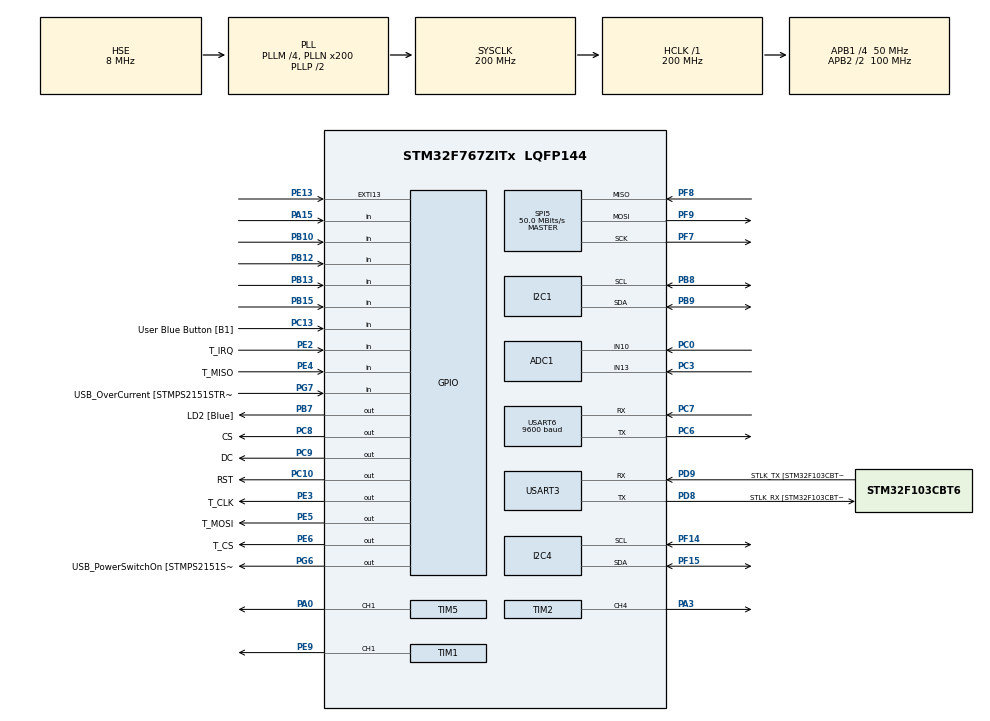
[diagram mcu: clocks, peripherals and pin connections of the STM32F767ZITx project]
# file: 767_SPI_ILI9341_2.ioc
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ADC1.Channel-0\#ChannelRegularConversion=ADC_CHANNEL_13
ADC1.Channel-1\#ChannelRegularConversion=ADC_CHANNEL_10
ADC1.ContinuousConvMode=DISABLE
ADC1.DMAContinuousRequests=ENABLE
ADC1.EOCSelection=ADC_EOC_SEQ_CONV
ADC1.NbrOfConversion=2
ADC1.NbrOfConversionFlag=1
ADC1.Rank-0\#ChannelRegularConversion=1
ADC1.Rank-1\#ChannelRegularConversion=2
ADC1.SamplingTime-0\#ChannelRegularConversion=ADC_SAMPLETIME_3CYCLES
ADC1.SamplingTime-1\#ChannelRegularConversion=ADC_SAMPLETIME_3CYCLES
ADC1.ScanConvMode=ADC_SCAN_ENABLE
ADC1.master=1
CORTEX_M7.ART_ACCLERATOR_ENABLE=1
CORTEX_M7.CPU_DCache=Enabled
CORTEX_M7.CPU_ICache=Enabled
CORTEX_M7.PREFETCH_ENABLE=1
Dma.ADC1.0.Direction=DMA_PERIPH_TO_MEMORY
Dma.ADC1.0.FIFOMode=DMA_FIFOMODE_DISABLE
Dma.ADC1.0.Instance=DMA2_Stream0
Dma.ADC1.0.MemDataAlignment=DMA_MDATAALIGN_WORD
Dma.ADC1.0.MemInc=DMA_MINC_ENABLE
Dma.ADC1.0.Mode=DMA_NORMAL
Dma.ADC1.0.PeriphDataAlignment=DMA_PDATAALIGN_WORD
Dma.ADC1.0.PeriphInc=DMA_PINC_DISABLE
Dma.ADC1.0.Priority=DMA_PRIORITY_LOW
Dma.Request0=ADC1
I2C1.Timing=0x00C0EAFF
I2C4.Timing=0x00C0EAFF
Mcu.Family=STM32F7
Mcu.Name=STM32F767ZITx
Mcu.Package=LQFP144
NVIC.DMA2_Stream0_IRQn=true\:0\:0\:false\:false\:true\:false\:true\:true
NVIC.EXTI15_10_IRQn=true\:0\:0\:false\:false\:true\:true\:true\:true
NVIC.PriorityGroup=NVIC_PRIORITYGROUP_4
NVIC.TIM1_UP_TIM10_IRQn=true\:0\:0\:false\:false\:true\:true\:true\:true
PA0/WKUP.GPIO_Speed=GPIO_SPEED_FREQ_VERY_HIGH
PA0/WKUP.Signal=S_TIM5_CH1
PA1.GPIO_Label=RMII_REF_CLK [LAN8742A-CZ-TR_REFCLK0]
PA1.Signal=ETH_REF_CLK
PA13.GPIO_Label=TMS
PA13.Mode=Serial_Wire
PA13.Signal=SYS_JTMS-SWDIO
PA14.GPIO_Label=TCK
PA14.Mode=Serial_Wire
PA14.Signal=SYS_JTCK-SWCLK
PA15.Signal=GPIO_Input
PA2.GPIO_Label=RMII_MDIO [LAN8742A-CZ-TR_MDIO]
PA2.Signal=ETH_MDIO
PA3.Signal=S_TIM2_CH4
PA7.GPIO_Label=RMII_CRS_DV [LAN8742A-CZ-TR_CRS_DV]
PA7.Signal=ETH_CRS_DV
PB10.Signal=GPIO_Input
PB12.Signal=GPIO_Input
PB13.Signal=GPIO_Input
PB15.Signal=GPIO_Input
PB3.GPIO_Label=SWO
PB3.Signal=SYS_JTDO-SWO
PB7.GPIO_Label=LD2 [Blue]
PB7.Signal=GPIO_Output
PB8.Mode=I2C
PB8.Signal=I2C1_SCL
PB9.Mode=I2C
PB9.Signal=I2C1_SDA
PC0.Signal=ADCx_IN10
PC1.GPIO_Label=RMII_MDC [LAN8742A-CZ-TR_MDC]
PC1.Signal=ETH_MDC
PC10.GPIO_Label=RST
PC10.GPIO_Speed=GPIO_SPEED_FREQ_VERY_HIGH
PC10.Signal=GPIO_Output
PC13.GPIO_Label=User Blue Button [B1]
PC13.Signal=GPIO_Input
PC14/OSC32_IN.Mode=LSE-External-Oscillator
PC14/OSC32_IN.Signal=RCC_OSC32_IN
PC15/OSC32_OUT.Mode=LSE-External-Oscillator
PC15/OSC32_OUT.Signal=RCC_OSC32_OUT
PC3.Signal=ADCx_IN13
PC4.GPIO_Label=RMII_RXD0 [LAN8742A-CZ-TR_RXD0]
PC4.Signal=ETH_RXD0
PC5.GPIO_Label=RMII_RXD1 [LAN8742A-CZ-TR_RXD1]
PC5.Signal=ETH_RXD1
PC6.Mode=Asynchronous
PC6.Signal=USART6_TX
PC7.Mode=Asynchronous
PC7.Signal=USART6_RX
PC8.GPIO_Label=CS
PC8.GPIO_Speed=GPIO_SPEED_FREQ_VERY_HIGH
PC8.Signal=GPIO_Output
PC9.GPIO_Label=DC
PC9.GPIO_Speed=GPIO_SPEED_FREQ_VERY_HIGH
PC9.Signal=GPIO_Output
PD8.GPIO_Label=STLK_RX [STM32F103CBT6_PA3]
PD8.Mode=Asynchronous
PD8.Signal=USART3_TX
PD9.GPIO_Label=STLK_TX [STM32F103CBT6_PA2]
PD9.Mode=Asynchronous
PD9.Signal=USART3_RX
PE13.GPIO_ModeDefaultEXTI=GPIO_MODE_IT_FALLING
PE13.GPIO_PuPd=GPIO_PULLUP
PE13.Signal=GPXTI13
PE2.GPIO_Label=T_IRQ
PE2.Signal=GPIO_Input
PE3.GPIO_Label=T_CLK
PE3.GPIO_Speed=GPIO_SPEED_FREQ_VERY_HIGH
PE3.Signal=GPIO_Output
PE4.GPIO_Label=T_MISO
PE4.Signal=GPIO_Input
PE5.GPIO_Label=T_MOSI
PE5.GPIO_Speed=GPIO_SPEED_FREQ_VERY_HIGH
PE5.Signal=GPIO_Output
PE6.GPIO_Label=T_CS
PE6.GPIO_Speed=GPIO_SPEED_FREQ_VERY_HIGH
PE6.Signal=GPIO_Output
PE9.Signal=S_TIM1_CH1
PF14.Mode=I2C
PF14.Signal=I2C4_SCL
PF15.Mode=I2C
PF15.Signal=I2C4_SDA
PF7.Mode=Full_Duplex_Master
PF7.Signal=SPI5_SCK
PF8.Mode=Full_Duplex_Master
PF8.Signal=SPI5_MISO
PF9.Mode=Full_Duplex_Master
PF9.Signal=SPI5_MOSI
PG11.GPIO_Label=RMII_TX_EN [LAN8742A-CZ-TR_TXEN]
PG11.Signal=ETH_TX_EN
PG13.GPIO_Label=RMII_TXD0 [LAN8742A-CZ-TR_TXD0]
PG13.Signal=ETH_TXD0
PG6.GPIO_Label=USB_PowerSwitchOn [STMPS2151STR_EN]
PG6.Signal=GPIO_Output
PG7.GPIO_Label=USB_OverCurrent [STMPS2151STR_FAULT]
PG7.Signal=GPIO_Input
PH0/OSC_IN.GPIO_Label=MCO [STM32F103CBT6_PA8]
PH0/OSC_IN.Mode=HSE-External-Oscillator
PH0/OSC_IN.Signal=RCC_OSC_IN
PH1/OSC_OUT.Mode=HSE-External-Oscillator
PH1/OSC_OUT.Signal=RCC_OSC_OUT
ProjectManager.HeapSize=0x200
ProjectManager.StackSize=0x400
ProjectManager.TargetToolchain=STM32CubeIDE
RCC.48MHZClocksFreq_Value=24000000
RCC.AHBFreq_Value=200000000
RCC.APB1CLKDivider=RCC_HCLK_DIV4
RCC.APB1Freq_Value=50000000
RCC.APB1TimFreq_Value=100000000
RCC.APB2CLKDivider=RCC_HCLK_DIV2
RCC.APB2Freq_Value=100000000
RCC.APB2TimFreq_Value=200000000
RCC.CortexFreq_Value=200000000
RCC.HCLKFreq_Value=200000000
RCC.HSE_VALUE=8000000
RCC.HSI_VALUE=16000000
RCC.PLLM=4
RCC.PLLMUL=RCC_PLL_MUL9
RCC.PLLN=200
RCC.PLLQ=9
RCC.PLLSourceVirtual=RCC_PLLSOURCE_HSE
RCC.PRESCALERUSB=RCC_USBCLKSOURCE_PLL_DIV1_5
RCC.SYSCLKFreq_VALUE=200000000
RCC.SYSCLKSource=RCC_SYSCLKSOURCE_PLLCLK
RCC.SYSCLKSourceVirtual=RCC_SYSCLKSOURCE_PLLCLK
RCC.USBFreq_Value=44444444.44444445
RCC.VCOOutputFreq_Value=400000000
SH.ADCx_IN10.0=ADC1_IN10,IN10
SH.ADCx_IN13.0=ADC1_IN13,IN13
SH.S_TIM1_CH1.0=TIM1_CH1,PWM Generation1 CH1
SH.S_TIM2_CH4.0=TIM2_CH4,PWM Generation4 CH4
SH.S_TIM5_CH1.0=TIM5_CH1,PWM Generation1 CH1
SPI5.CalculateBaudRate=50.0 MBits/s
SPI5.DataSize=SPI_DATASIZE_8BIT
SPI5.Direction=SPI_DIRECTION_2LINES
SPI5.Mode=SPI_MODE_MASTER
SPI5.NSSPMode=SPI_NSS_PULSE_DISABLE
SPI5.VirtualType=VM_MASTER
TIM1.Channel-PWM\ Generation1\ CH1=TIM_CHANNEL_1
TIM1.ClockDivision=TIM_CLOCKDIVISION_DIV1
TIM1.Period=1000-1
TIM1.Prescaler=200-1
TIM1.Pulse-PWM\ Generation1\ CH1=1000/4-1
TIM2.Channel-PWM\ Generation4\ CH4=TIM_CHANNEL_4
TIM2.Period=24-1
TIM2.Prescaler=1250-1
TIM2.Pulse-PWM\ Generation4\ CH4=24/4-1
TIM3.Period=1000-1
TIM3.Prescaler=100-1
TIM5.Channel-PWM\ Generation1\ CH1=TIM_CHANNEL_1
TIM5.Period=1000-1
TIM5.Prescaler=200-1
TIM5.Pulse-PWM\ Generation1\ CH1=1000/4-1
TIM9.Period=24-1
TIM9.Prescaler=100-1
USART3.VirtualMode-Asynchronous=VM_ASYNC
USART6.BaudRate=9600
USART6.VirtualMode-Asynchronous=VM_ASYNC
VP_RNG_VS_RNG.Mode=RNG_Activate
VP_TIM1_VS_ClockSourceINT.Mode=Internal
VP_TIM3_VS_ClockSourceINT.Mode=Internal
VP_TIM4_VS_ClockSourceINT.Mode=Internal
VP_TIM5_VS_ClockSourceINT.Mode=Internal
VP_TIM9_VS_ClockSourceINT.Mode=Internal
board=NUCLEO-F767ZI

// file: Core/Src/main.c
/* USER CODE BEGIN Header */
/**
  ******************************************************************************
  * @file           : main.c
  * @brief          : Main program body
  ******************************************************************************
  * @attention
  *
  * <h2><center>&copy; Copyright (c) 2021 STMicroelectronics.
  * All rights reserved.</center></h2>
  *
  * This software component is licensed by ST under BSD 3-Clause license,
  * the "License"; You may not use this file except in compliance with the
  * License. You may obtain a copy of the License at:
  *                        opensource.org/licenses/BSD-3-Clause
  *
  ******************************************************************************
  */
/* USER CODE END Header */
#include "main.h"
#include "adc.h"
#include "dma.h"
#include "i2c.h"
#include "rng.h"
#include "spi.h"
#include "tim.h"
#include "usart.h"
#include "gpio.h"

/* USER CODE BEGIN Includes */
#include "stdio.h"
#include "ILI9341_Touchscreen.h"

#include "ILI9341_STM32_Driver.h"
#include "ILI9341_GFX.h"

#include "snow_tiger.h"

#include "DFPLAYER_MINI.h"
#include "ds3231_for_stm32_hal.h"
#include "string.h"
#include "math.h"
//#include "dfr0299.h"
/* USER CODE END Includes */

/* USER CODE BEGIN PM */
volatile uint32_t timer_ticks = 0;
uint32_t count = 0;
uint32_t starttime = 0;
uint32_t alarmtime = 0;
uint8_t screen = 1;
uint8_t sec = 0,min = 0,hur = 0,dow = 0,date = 0,month = 0;
uint32_t year = 0;
uint8_t selectionMode = 0;
uint8_t valueMode = 0;

// Time Variable
uint32_t setSec = 99,setMin = 99,setHour = 99;
uint32_t setDate = 99,setMonth = 99,setYear = 99;
uint32_t setDay = 0;

// Alarm Varable
uint32_t setAlarmSec = 0,setAlarmMin = 0,setAlarmHour = 0;
uint32_t setAlarmDate = 99,setAlarmMonth = 99,setAlarmYear = 99;
uint32_t setAlarmDay = 0;

// Additional Date Variable
char *day[7] = { "Sunday", "Monday", "Tuesday", "Wednesday", "Thursday", "Friday", "Saturday" };
char *months[12] = { "January", "February", "March", "April", "May", "June", "July", "August", "September", "October", "November", "December" };
int monthdays[13] = {31,28,29,31,30,31,30,31,31,30,31,30,31};

uint8_t seconds;
uint8_t minutes;
uint8_t hours;

// Alarm Variable
int alarmtrigger = 0;

// Sensor Variable
float temp = 0.0;
float RH = 0.0;
uint8_t step = 0;
HAL_StatusTypeDef status;

//??
uint8_t cmdBuffer[3];
uint8_t dataBuffer[8];

// Display Variable
char strS[] ="";
char strM[] ="";
char strH[] ="";
char timedate[50];
char strdow[] ="";
char strdate[] ="";
char strmonth[15] ="";
char stryear[] ="";
char strsensor[50] ="";

char timeString[50];

//ปิดปลุ�?
uint32_t randomNumbers[4];
HAL_StatusTypeDef randomStatus;
uint32_t userButtonInput[4] = {0};
char buttonInput[] ="";
char space[] = "\r\n";

uint8_t pwm;
float dutyCycle = 0;
int playTheMusic = 1;

// Controller Variable
uint8_t currentIndex = 0, previousScreen = 0;
uint32_t clicktime = 0, c=0, debounceTime = 0, teratermTime = 0;
int enterStateFlag = 0;

uint32_t debounceTimeSave = 0;

uint16_t bgcolor = 0;
uint16_t fontcolor = 0;

uint16_t songList = 1, previous_songlist = 1;
extern uint16_t savedSong;
char *songs[20] = {"Ae Ae", "Radar", "Attack on Titan", "Minion", "Kimetsu no Yaiba", "Night Dancer", "Clock Song", "IceTim Wall Song", "Wake Up Thailand", "Bangrajan"};

uint16_t CRC16_2(uint8_t * , uint8_t);

uint32_t ADC_read[2];
extern ADC_HandleTypeDef hadc1;

uint16_t old_min = -1;

uint8_t starPos[25][2] = {{0, 0}};

void showSetTime();
void showSetAlarm();
void setPage();
void ILI9341_Draw_Star(uint16_t X, uint16_t Y, uint16_t Size, uint16_t Color);
void ILI9341_Draw_Line(uint16_t x1, uint16_t y1, uint16_t x2, uint16_t y2, uint16_t Color);

/* USER CODE END PM */

/* USER CODE BEGIN PV */
/* Private variables ---------------------------------------------------------*/

/* USER CODE END PV */

void SystemClock_Config(void);
/* USER CODE BEGIN PFP */
/* Private function prototypes -----------------------------------------------*/

/* USER CODE END PFP */

/* USER CODE BEGIN 0 */

void sendStringViaUART(const char *str) {
  HAL_UART_Transmit(&huart3, (uint8_t *)str, strlen(str), HAL_MAX_DELAY);
}

void generateAndSortRandomNumbers(uint32_t array[], uint32_t size) {
  for (uint32_t i = 0; i < size; i++) {
    array[i] = abs(HAL_RNG_GetRandomNumber(&hrng)) % 4 + 1;
  }

  char message[100];

  for (int i = 0; i < 4; i++) {
    sprintf(message, "%d ", array[i]);
    sendStringViaUART(message);
  }
  sendStringViaUART(space);
}

int compareArrays(int array1[], int array2[], int size) {
    int match = 1;  // Assume arrays match initially

    // Compare elements of the arrays
    for (int i = 0; i < size; i++) {
        if (array1[i] != array2[i]) {
            match = 0;  // Arrays do not match
            break;
        }
    }

    if (match) {
    	return 1;
    	//char message[] = "Match\r\n";
    	//HAL_UART_Transmit(&huart3, (uint8_t *)message, strlen(message), HAL_MAX_DELAY);
    } else {
    	return 0;
    	//char message[] = "Not Match\r\n";
    	//HAL_UART_Transmit(&huart3, (uint8_t *)message, strlen(message), HAL_MAX_DELAY);
    }
}

void letTheMusicLouderThanAnySound(float dt){

	float dutycycle = dt;
	    htim2.Instance -> CCR3 = (24-1) * dutycycle;
	    HAL_TIM_PWM_Start(&htim2, TIM_CHANNEL_4);
	    HAL_Delay(1000);
	    HAL_TIM_PWM_Stop(&htim2, TIM_CHANNEL_4);
	    pwm = (GPIOA->IDR & GPIO_PIN_3) >> 3;
}

void pabfai(int dt){

		float duty = (float)dt/100.0;
	    htim5.Instance -> CCR3 = (1000-1) * duty;
	    HAL_TIM_PWM_Start(&htim5, TIM_CHANNEL_1);
//	    HAL_Delay(1000);
//	    HAL_TIM_PWM_Stop(&htim2, TIM_CHANNEL_);
	    pwm = (GPIOA->IDR & GPIO_PIN_0) >> 9;

}

/*void HAL_TIM_PeriodElapsedCallback(TIM_HandleTypeDef *htim) {
    if (htim == &htim2) {
        timer_ticks++;
        if (timer_ticks >= 3000) { // 3 วินาที
            // หยุดนับเวลา�?ละรีเซ็ตค่า
            HAL_TIM_Base_Stop_IT(&htim2);
            timer_ticks = 0;

            // ทำสิ่งที่คุณต้อง�?ารเมื่อค้าง 3 วินาที
            // เช่น อ่านค่าต้อ
        }
    }
}
void generateAndSortRandomNumbers(uint32_t array[], uint32_t size) {
  for (uint32_t i = 0; i < size; i++) {
    array[i] = abs(HAL_RNG_GetRandomNumber(&hrng)) % 4 + 1;
  }

  char message[100];

  for (int i = 0; i < 4; i++) {
    sprintf(message, "%d ", array[i]);
    sendStringViaUART(message);
  }
  sendStringViaUART(space);
}

void compareArrays(int array1[], int array2[], int size) {
    int match = 1;  // Assume arrays match initially

    // Compare elements of the arrays
    for (int i = 0; i < size; i++) {
        if (array1[i] != array2[i]) {
            match = 0;  // Arrays do not match
            break;
        }
    }

    if (match) {
    	char message[] = "Match\r\n";
    	HAL_UART_Transmit(&huart3, (uint8_t *)message, strlen(message), HAL_MAX_DELAY);
    } else {
    	char message[] = "Not Match\r\n";
    	HAL_UART_Transmit(&huart3, (uint8_t *)message, strlen(message), HAL_MAX_DELAY);
    }
}

void letTheMusicLouderThanAnySound(){
	float dutyCycle = 1;
	htim3.Instance -> CCR3 = (10000-1) * (dutyCycle);
	HAL_TIM_PWM_Start(&htim3, TIM_CHANNEL_3);
	pwm = (GPIOC->IDR & GPIO_PIN_8) >> 10;
}

void stopTheMusic(){
	HAL_TIM_PWM_Stop(&htim3, TIM_CHANNEL_3);
	HAL_GPIO_WritePin(GPIOC, 8, GPIO_PIN_RESET);
	dutyCycle = 0;
}*/
/* USER CODE END 0 */

int main(void)
{

  /* Enable I-Cache---------------------------------------------------------*/
  SCB_EnableICache();

  /* Enable D-Cache---------------------------------------------------------*/
  SCB_EnableDCache();

  /* MCU Configuration--------------------------------------------------------*/

  /* Reset of all peripherals, Initializes the Flash interface and the Systick. */
  HAL_Init();

  /* Configure the system clock */
  SystemClock_Config();

  /* Initialize all configured peripherals */
  MX_GPIO_Init();
  MX_DMA_Init();
  MX_SPI5_Init();
  MX_TIM1_Init();
  MX_RNG_Init();
  MX_I2C4_Init();
  MX_TIM2_Init();
  MX_I2C1_Init();
  MX_USART6_UART_Init();
  MX_TIM3_Init();
  MX_USART3_UART_Init();
  MX_ADC1_Init();
  MX_TIM5_Init();
  MX_TIM9_Init();
  MX_TIM4_Init();
  /* USER CODE BEGIN 2 */
  ILI9341_Init();//initial driver setup to drive ili9341
  //HAL_TIM_Base_Start_IT(&htim2);
  HAL_TIM_Base_Start_IT(&htim1);
  HAL_TIM_Base_Start_IT(&htim3);

  HAL_TIM_PWM_Init(&htim5);

  HAL_TIM_PWM_Start(&htim5, TIM_CHANNEL_1);

  //HAL_TIM_PWM_Start(&htim2, TIM_CHANNEL_4);

  HAL_UART_Init(&huart3);

  uint16_t mapColorByHourAndMinute(uint16_t hour, uint16_t minute);
  uint16_t complementaryColor(uint16_t color);

  DF_Init(30);
	DF_PlayFromStart();
	DF_SetEQ(3);
	DS3231_Init(&hi2c4);
	__disable_irq();
	//Set interrupt mode to square wave mode, enable square wave interrupt at pin 3.
	DS3231_SetInterruptMode(DS3231_SQUARE_WAVE_INTERRUPT);
	//Set interrupting frequency to 1 Hz.
	DS3231_SetRateSelect(DS3231_1HZ);
	//Enable interrupts after finishing.
	__enable_irq();
  /* USER CODE END 2 */

  /* Infinite loop */
  /* USER CODE BEGIN WHILE */

    ILI9341_Fill_Screen(WHITE);
    ILI9341_Set_Rotation(SCREEN_HORIZONTAL_1);
     starttime = count;

     cmdBuffer[0] = 0x03;
     cmdBuffer[1] = 0x00;
     cmdBuffer[2] = 0x04;
     //DS3231_SetFullDate(13, 10, 5, 2023);
     DS3231_SetInterruptMode(DS3231_ALARM_INTERRUPT);
	DS3231_ClearAlarm1Flag();

	DS3231_EnableAlarm1(DS3231_ENABLED);
	DS3231_SetAlarm1Mode(DS3231_A1_MATCH_S_M_H_DAY);
//	DS3231_SetAlarm1Second(5);
//	DS3231_SetAlarm1Minute(29);
//	DS3231_SetAlarm1Hour(19);
     ILI9341_Draw_Rectangle(0,0, 320,200,  WHITE);

     //generateAndSortRandomNumbers(randomNumbers, 4);
   //  DS3231_SetFullDate(30,5, 4, 2002);
   while (1)
   {
    /* USER CODE END WHILE */

    /* USER CODE BEGIN 3 */
//	   float dutycycle = 1.0;
//	   	    htim2.Instance -> CCR3 = (24-1) * dutycycle;
//	   	    HAL_TIM_PWM_Start(&htim2, TIM_CHANNEL_4);
//	   	    HAL_Delay(1000);
//	   	    HAL_TIM_PWM_Stop(&htim2, TIM_CHANNEL_4);
//	   	    pwm = (GPIOA->IDR & GPIO_PIN_3) >> 3;

	  // letTheMusicLouderThanAnySound(0.7);

	   HAL_ADC_Start_DMA(&hadc1, ADC_read, 2);
	   char message[20];
	   sprintf(message, "%d %d\r\n", ADC_read[0],ADC_read[1]);
	   HAL_UART_Transmit(&huart3, (uint8_t *)message, sizeof(message), HAL_MAX_DELAY);

	   int TFT_level = ADC_read[1]*100/4095;
	   char message2[20];
	   sprintf(message2, "TFT %d\r\n",TFT_level);
	  	   HAL_UART_Transmit(&huart3, (uint8_t *)message2, sizeof(message2), HAL_MAX_DELAY);

	   pabfai(TFT_level);

	   // Debug time Tera term
	   if ( count - teratermTime > 3000){
		   char message[20];
		   sprintf(message, "%d\r\n", screen);
		   HAL_UART_Transmit(&huart3, (uint8_t *)message, sizeof(message), HAL_MAX_DELAY);
		   teratermTime = count;

	   }

	   // If Alarm trigger
		if(alarmtrigger)
		{
			ILI9341_Fill_Screen(WHITE);
			alarmtime = count;
			alarm();
		   //screen = 2;
		   //alarmtrigger = 0;
		   //HAL_Delay(3000)
		}
		else{
	   // Screen state looping
	   switch(screen){
	   case 1: // First state : show time
		   // Update screen every second

		   MusicController(ADC_read[0]);

		   if((count-starttime) > 1000){
				updateT();
				bgcolor = mapColorByHourAndMinute(hur,min);
				fontcolor = complementaryColor(bgcolor);

				if (old_min != min){
					old_min = min;
					ILI9341_Fill_Screen(bgcolor);
				}

				showT();
				starttime = count;
			}
//		   Check_Key();

			if (HAL_GPIO_ReadPin(GPIOC, GPIO_PIN_13) == GPIO_PIN_SET){
				 HAL_Delay(50);
				if (HAL_GPIO_ReadPin(GPIOC, GPIO_PIN_13) == GPIO_PIN_SET){
					DS3231_SetFullTime(21 , 12, 30);
				}
			 }
//			// If Alarm trigger
//			if(alarmtrigger)
//			{
//				ILI9341_Fill_Screen(WHITE);
//				alarm();
//			   //screen = 2;
//			   alarmtime = count;
//			   alarmtrigger = 0;
//			   //HAL_Delay(3000)
//			}
			// Go to state 2
			if (HAL_GPIO_ReadPin(GPIOA, GPIO_PIN_15) == GPIO_PIN_RESET && count - clicktime > 1000){
					ILI9341_Fill_Screen(WHITE);
					clicktime = count;
					screen = 2;
			}

			break;

	   case 2:// Second State : Set Time
		   // If enter this state at first , set flag and time to set to current time
		   if(enterStateFlag == 0)
		   {
			   setMin = DS3231_GetMinute();
			   setHour = DS3231_GetHour();
			   setDate = date;
			   setMonth = month;
			   setYear = year;
			   currentIndex = 0;
			   enterStateFlag = 1;
		   }
		   //?
		   if(setDate == 99){

			   	   setMin = DS3231_GetMinute();
			   	   setHour = DS3231_GetHour();
				   setDate = date;
				   setMonth = month;
				   setYear = year;
				   currentIndex = 0;

			   }
		   // Setting
			   if(count-starttime > 1000){
//			   		showSetTime();
				    setPage();
			   		starttime = count;
			   	}
			   break;

	   case 3:// Third State : Set Alarm
		   		   // If enter this state at first , set flag and index
		   if(enterStateFlag == 0)
		   {
			   currentIndex = 2;
			   enterStateFlag = 1;
		   }
		   if(setHour == 99){
			   setHour = hur;
			   setMin = min;
			   setSec = sec;
			   currentIndex = 0;
		   }
		   //Setting
		   if(count-starttime > 1000){
//				showSetAlarm();
				setPage();
				starttime = count;
			}
		   break;

	   case 4:
//		   Check_Key();
		   if(songList != savedSong){
			   DF_Pause();
		   }
		   setPage();
		   break;

	   }

	   char message[50];
	   //sprintf(message, "2: %d %d %d | 3: %d %d %d | cur = %d\r\n", setDate, setMonth, setYear, setHour, setMin, setSec, currentIndex);
	   //HAL_UART_Transmit(&huart3, (uint8_t *)message, sizeof(message), HAL_MAX_DELAY);

	   if (previousScreen !=  screen){
		   currentIndex = 0;
		   previousScreen = screen;
	   }

//	   for(int i = 0; i<= 100; i++){
//	   		  letTheMusicLouderThanAnySound(i*0.01);
//	   		  HAL_Delay(2000);
//	   		  stopTheMusic();
//	   	  }
   }
   }
  /* USER CODE END 3 */
}

void SystemClock_Config(void)
{
  RCC_OscInitTypeDef RCC_OscInitStruct = {0};
  RCC_ClkInitTypeDef RCC_ClkInitStruct = {0};

  /** Configure LSE Drive Capability
  */
  HAL_PWR_EnableBkUpAccess();

  /** Configure the main internal regulator output voltage
  */
  __HAL_RCC_PWR_CLK_ENABLE();
  __HAL_PWR_VOLTAGESCALING_CONFIG(PWR_REGULATOR_VOLTAGE_SCALE1);

  /** Initializes the RCC Oscillators according to the specified parameters
  * in the RCC_OscInitTypeDef structure.
  */
  RCC_OscInitStruct.OscillatorType = RCC_OSCILLATORTYPE_HSE;
  RCC_OscInitStruct.HSEState = RCC_HSE_ON;
  RCC_OscInitStruct.PLL.PLLState = RCC_PLL_ON;
  RCC_OscInitStruct.PLL.PLLSource = RCC_PLLSOURCE_HSE;
  RCC_OscInitStruct.PLL.PLLM = 4;
  RCC_OscInitStruct.PLL.PLLN = 200;
  RCC_OscInitStruct.PLL.PLLP = RCC_PLLP_DIV2;
  RCC_OscInitStruct.PLL.PLLQ = 9;
  RCC_OscInitStruct.PLL.PLLR = 2;
  if (HAL_RCC_OscConfig(&RCC_OscInitStruct) != HAL_OK)
  {
    Error_Handler();
  }

  /** Activate the Over-Drive mode
  */
  if (HAL_PWREx_EnableOverDrive() != HAL_OK)
  {
    Error_Handler();
  }

  /** Initializes the CPU, AHB and APB buses clocks
  */
  RCC_ClkInitStruct.ClockType = RCC_CLOCKTYPE_HCLK|RCC_CLOCKTYPE_SYSCLK
                              |RCC_CLOCKTYPE_PCLK1|RCC_CLOCKTYPE_PCLK2;
  RCC_ClkInitStruct.SYSCLKSource = RCC_SYSCLKSOURCE_PLLCLK;
  RCC_ClkInitStruct.AHBCLKDivider = RCC_SYSCLK_DIV1;
  RCC_ClkInitStruct.APB1CLKDivider = RCC_HCLK_DIV4;
  RCC_ClkInitStruct.APB2CLKDivider = RCC_HCLK_DIV2;

  if (HAL_RCC_ClockConfig(&RCC_ClkInitStruct, FLASH_LATENCY_6) != HAL_OK)
  {
    Error_Handler();
  }
}

/* USER CODE BEGIN 4 */
uint16_t CRC16_2(uint8_t *ptr, uint8_t lenght){
	uint16_t crc = 0xffff;
	uint8_t s = 0x00;

	while (lenght--){
		crc ^= *ptr++;

		for (s = 0 ; s <8 ;s++){
			if ((crc & 0x01) != 0){
				crc >>= 1;
				crc ^= 0xA001;

			}
			else{
				crc >>= 1;
			}
		}
	}
	return crc;
}

void updateSensor() {
	HAL_I2C_Master_Transmit(&hi2c1, 0x5c << 1 , cmdBuffer, 3, 200);

	HAL_I2C_Master_Transmit(&hi2c1, 0x5c << 1 , cmdBuffer, 3, 200);

	HAL_Delay(1);

	// receive sensor data

	HAL_I2C_Master_Receive(&hi2c1, 0x5c << 1 , dataBuffer , 8, 200);

	uint16_t Rcrc = dataBuffer[7] << 8 ;
	Rcrc += dataBuffer[6];

	if (Rcrc == CRC16_2(dataBuffer,6)){
		uint16_t temperature = ((dataBuffer[4] & 0x7F) << 8 ) + dataBuffer[5];

		temp = temperature  / 10.0 ;

		temp = (((dataBuffer[4] & 0x80) >> 7 ) == 1)? (temp * (-1)) : temp ;

		uint16_t humi = (dataBuffer[2] << 8) + dataBuffer[3] ;
		RH = humi / 10.0 ;
	}
}

void alarm(){
	//-----------------------------------
	ILI9341_Draw_Text("WAKE UP!!", 50,50, BLACK, 4, WHITE);

	//-----------------------------------
	generateAndSortRandomNumbers(randomNumbers,4);
	char pinNumber[4][2];
	uint16_t btnColor[4] = {0x2455 , 0x2455 , 0x2455 , 0x2455};
//	snprintf(buttonInput, 15, "%d %d %d %d",randomNumbers[0],randomNumbers[1],randomNumbers[2],randomNumbers[3]);
	for(int i=0;i<4;i++){
		sprintf(pinNumber[i], "%d", randomNumbers[i]);
		ILI9341_Draw_Filled_Circle(55 + i*50,120, 20, btnColor[i]);
		ILI9341_Draw_Text(pinNumber[i], 50 + i*50,100, BLACK, 4, btnColor[i]);
	}
	DF_SetVolume(30);
	DF_SetFolder(1, songList);
//	ILI9341_Draw_Text(buttonInput, 50,100, BLACK, 4, WHITE);
	int cnt = 0;
	while(1){
		if(HAL_GPIO_ReadPin(GPIOB, GPIO_PIN_10) == GPIO_PIN_SET){
			DF_SetVolume(30);
			DF_SetFolder(1, songList);
		}
		if(cnt != 4){
			if (HAL_GPIO_ReadPin(GPIOB, GPIO_PIN_15) == GPIO_PIN_RESET){
				userButtonInput[cnt++] = 1;
				letTheMusicLouderThanAnySound(0.1);

			}
			else if (HAL_GPIO_ReadPin(GPIOB, GPIO_PIN_13) == GPIO_PIN_RESET){
				userButtonInput[cnt++] = 2;
				letTheMusicLouderThanAnySound(0.4);
			}
			else if (HAL_GPIO_ReadPin(GPIOB, GPIO_PIN_12) == GPIO_PIN_RESET){
				userButtonInput[cnt++] = 3;
				letTheMusicLouderThanAnySound(0.6);
			}
			else if (HAL_GPIO_ReadPin(GPIOA, GPIO_PIN_15) == GPIO_PIN_RESET){
				userButtonInput[cnt++] = 4;
				letTheMusicLouderThanAnySound(0.1);
			}
		}
		else{
//			snprintf(buttonInput, 15, "%d %d %d %d",userButtonInput[0],userButtonInput[1],userButtonInput[2],userButtonInput[3]);
//			ILI9341_Draw_Text(buttonInput, 50,10, BLACK, 4, WHITE);
			if(compareArrays(randomNumbers,userButtonInput,4) == 1){
				ILI9341_Fill_Screen(WHITE);
				alarmtrigger = 0;
				break;
			}else{
				generateAndSortRandomNumbers(randomNumbers,4);
				for(int i=0;i<4;i++){
					sprintf(pinNumber[i], "%d", randomNumbers[i]);
					ILI9341_Draw_Text(pinNumber[i], 50 + i*50,100, BLACK, 4, btnColor[i]);
					userButtonInput[i] = 0;
				}
//				snprintf(buttonInput, 15, "%d %d %d %d",randomNumbers[0],randomNumbers[1],randomNumbers[2],randomNumbers[3]);
//				ILI9341_Draw_Text(buttonInput, 50,100, BLACK, 4, WHITE);
				cnt = 0;
			}
		}
		for(int i=0;i<4;i++){
			ILI9341_Draw_Text(pinNumber[i], 50 + i*50,100, (userButtonInput[i] == randomNumbers[i]) ? GREEN : ((userButtonInput[i] == 0) ? BLACK : RED), 4, btnColor[i]);
//			if(userButtonInput[i] == randomNumbers[i]){
//				letTheMusicLouderThanAnySound(0.7);
//			}
//			else{
//				letTheMusicLouderThanAnySound(0.2);
//			}
		}
	}
	DF_Pause();
}

 void updateT(){
 	sec = DS3231_GetSecond();
 	min = DS3231_GetMinute();
 	hur = DS3231_GetHour();
 	dow = DS3231_GetDayOfWeek()-1;
 	date = DS3231_GetDate()-1;
 	month = DS3231_GetMonth()-1;
 	year = DS3231_GetYear();

 }
 void showT(){

	updateSensor();

//	if(setHour == 99 || setMin == 99 || setSec == 99){
//		sprintf(strH,"%02d",hur);
//		sprintf(strM,"%02d",min);
//		sprintf(strS,"%02d",sec);
//	}
//	else {
//		sprintf(strH,"%02d",setHour);
//		sprintf(strM,"%02d",setMin);
//		sprintf(strS,"%02d",setSec);
//	}

	sprintf(strH,"%02d",hur);
	sprintf(strM,"%02d",min);
	sprintf(strS,"%02d",sec);

 	sprintf(strsensor,"%.1f C %.1f %%RH",temp,RH);
 	//sprintf(strdow,"%s",day[1]);
	//sprintf(strdate,"%d",date);
//	sprintf(strmonth,"%s",months[month]);
	//sprintf(stryear,"%d",year);

// 	if (setDate == 99 || setMonth == 99 || setYear == 99){
// 		dow = dayofweek(date, month + 1, year);
// 		snprintf(timedate,50,"%d %s %d",date, months[month], year);
// 	}
// 	else{
// 		dow = dayofweek(setDate, setMonth + 1, setYear);
// 		snprintf(timedate,50,"%d %s %d",setDate, months[setMonth], setYear);
// 	}

 	dow = dayofweek(date + 1, month + 1, year);
 	snprintf(timedate,50,"%d %s %d",date+1, months[month], year);

	snprintf(timeString, 50, "%s:%s:%s", strH, strM, strS);
	ILI9341_Draw_Text(timeString, 42, 100, fontcolor, 5, bgcolor);
//	ILI9341_Draw_Text(strH, 50,90, BLACK, 5, WHITE);
//	ILI9341_Draw_Text(strM, 120,90, BLACK, 5, WHITE);
//	ILI9341_Draw_Text(strS, 210,90, BLACK, 5, WHITE);

	uint32_t dow_x = 56 + (9 - strlen(day[dow])) * 12;
	ILI9341_Draw_Text(day[dow], dow_x, 10 , fontcolor, 4, bgcolor);
	ILI9341_Draw_Text(strsensor, 75,40 , fontcolor, 2, bgcolor);
 //	ILI9341_Draw_Text(strsensor, 80,40 , BLACK, 1, WHITE);
//	ILI9341_Draw_Text(strdate, 50,210, BLACK, 2, WHITE);
//	ILI9341_Draw_Text(months[month], 80,210, BLACK, 2, WHITE);
//	ILI9341_Draw_Text(stryear, 200,210, BLACK, 2, WHITE);
	uint32_t time_x = 50 + (9-((setMonth == 99) ? strlen(months[month]) : strlen(months[setMonth]))) * 7;
//	if (month % 2 == 1)
//		x -= 5;
 	ILI9341_Draw_Text(timedate, time_x, 210, fontcolor, 2, bgcolor);
//	ILI9341_Draw_Text(timedate, 50, 210, BLACK, 2, WHITE);
	char willBeAlarmIn[50] = "";
	snprintf(willBeAlarmIn, 50, "Alarm at %02d:%02d", setAlarmHour, setAlarmMin);
	ILI9341_Draw_Text(willBeAlarmIn, 75, 140, fontcolor, 2, bgcolor);

 }

void showSetTime(){
	sprintf(strdate,"%02d",setDate+1);
	sprintf(strmonth,"%s",months[setMonth]);
	sprintf(stryear,"%d",setYear);

//	snprintf(timedate,50,"%s %s %s",strdate, strmonth, stryear);
//	ILI9341_Draw_Text(timedate, 80,10, BLACK, 2, WHITE);

	char getStr[100] = "";
	sprintf(getStr,"Setting");
	ILI9341_Draw_Text(getStr, 72,10, BLACK, 4, WHITE);

	sprintf(getStr,"Date");
	ILI9341_Draw_Text(getStr, 115,60, BLACK, 3, WHITE);

	sprintf(getStr,"Time");
	ILI9341_Draw_Text(getStr, 115,130, BLACK, 3, WHITE);

	if (currentIndex == 0)
		ILI9341_Draw_Text(strdate, 55,100, BLUE, 2, WHITE);
	else
		ILI9341_Draw_Text(strdate, 55,100, BLACK, 2, WHITE);

	if (currentIndex == 1)
		ILI9341_Draw_Text(strmonth, 100,100, BLUE, 2, WHITE);
	else
		ILI9341_Draw_Text(strmonth, 100,100, BLACK, 2, WHITE);

	if (currentIndex== 2)
		ILI9341_Draw_Text(stryear, 215,100, BLUE, 2, WHITE);
	else
		ILI9341_Draw_Text(stryear, 215,100, BLACK, 2, WHITE);

	// hour

	sprintf(getStr,"%02d",setHour);

	if (currentIndex== 3)
			ILI9341_Draw_Text(getStr, 120,170, BLUE, 2, WHITE);
		else
			ILI9341_Draw_Text(getStr, 120,170, BLACK, 2, WHITE);

	sprintf(getStr,":");
	ILI9341_Draw_Text(getStr, 150,170, BLACK, 2, WHITE);

	// minute
	sprintf(getStr,"%02d",setMin);

	if (currentIndex== 4)
			ILI9341_Draw_Text(getStr, 160,170, BLUE, 2, WHITE);
		else
			ILI9341_Draw_Text(getStr, 160,170, BLACK, 2, WHITE);

//	ILI9341_Draw_Text(day[dow], 50, 10 , BLACK, 4, WHITE);
}

void showSetAlarm(){

		char getStr[100] = "";

		sprintf(getStr,"Setting Alarm Time");
		ILI9341_Draw_Text(getStr, 50, 20, BLACK , 2, WHITE);

		ILI9341_Draw_Text("Hour   Minute", 90,90, BLACK, 2, WHITE);

		sprintf(getStr,"%02d",setAlarmHour);

		if (currentIndex== 2)
			ILI9341_Draw_Text(getStr, 95,110, BLUE, 3, WHITE);
		else
			ILI9341_Draw_Text(getStr, 95,110, BLACK, 3, WHITE);

		// minute
		sprintf(getStr,"%02d",setAlarmMin);

		if (currentIndex== 3)
			ILI9341_Draw_Text(getStr, 184,110, BLUE, 3, WHITE);
		else
			ILI9341_Draw_Text(getStr, 184,110, BLACK, 3, WHITE);

		sprintf(getStr,"%s",day[setAlarmDay]);
		uint32_t dow_x = 75 + (9 - strlen(day[setAlarmDay])) * 12;
		if (currentIndex== 4)
			ILI9341_Draw_Text(getStr, dow_x,175, BLUE, 3, WHITE);
		else
			ILI9341_Draw_Text(getStr, dow_x,175, BLACK, 3, WHITE);

		ILI9341_Draw_Text(":", 155,110, BLACK, 3, WHITE);
//	ILI9341_Draw_Text(strH, 60,20, BLACK, 2, WHITE);
//	ILI9341_Draw_Text(strM, 110,20, BLACK, 2, WHITE);
	//ILI9341_Draw_Text(strS, 160,20, BLACK, 2, WHITE);
	//ILI9341_Draw_Text(day[dow], 60,200, BLACK, 2, WHITE);

//	ILI9341_Draw_Text(day[dow], 10, 200 , BLACK, 4, WHITE);
}

void songSelectpage(){
	for(int i=0;i<25;i++){
		ILI9341_Draw_Rectangle(starPos[i][0]-6, starPos[i][1]-6, 12, 12, BLACK);
	}
	for(int i =0;i<25;i++){
		uint32_t x = 30+ HAL_RNG_GetRandomNumber(&hrng) % 200;
		uint32_t y = 20+HAL_RNG_GetRandomNumber(&hrng) % 210;
		ILI9341_Draw_Star(x, y, 5, 0xfde0);
		starPos[i][0] = x;
		starPos[i][1] = y;
	}
	ILI9341_Draw_Text("Song Number : ", 40,110, WHITE, 2,BLACK );

	char getname[20] = "";
	sprintf(getname,"%d",songList);
	HAL_UART_Transmit(&huart3, getname, strlen(getname), 1000);
	if(previous_songlist != songList){
		ILI9341_Draw_Filled_Rectangle_Coord(200,105, 240,130, BLACK);
		ILI9341_Draw_Filled_Rectangle_Coord(40,140, 300,160, BLACK);
		previous_songlist = songList;
	}
	ILI9341_Draw_Text(getname, 200,105, WHITE, 3, BLACK);

	uint16_t song_x = 70 + (16-strlen(songs[songList-1]))*5;
	sprintf(getname,"%s",songs[songList-1]);

	ILI9341_Draw_Text(getname, song_x,140, WHITE, 2, BLACK);
//	ILI9341_Draw_Filled_Circle(X, Y, Radius, Colour)

}

void setPage(){
	if((count-starttime) > 1000){
		if(screen == 2)
			showSetTime();
		else if(screen == 3)
			showSetAlarm();

		else if(screen == 4){
			songSelectpage();
			selectSong();
//			HAL_UART_Transmit(&huart3, songList,  , Timeout);
		}

		starttime = count;
	}

   if (HAL_GPIO_ReadPin(GPIOB, GPIO_PIN_15) == GPIO_PIN_RESET && count - debounceTime > 1000){
	   debounceTime = count;
	   switch(currentIndex){
	   case 0:
		   if(screen == 2){
			   setDate++;
			   if(setMonth == 3 || setMonth == 5 || setMonth == 8 || setMonth == 10)
				   setDate %= 30;
			   else if(setMonth == 1)
			   {
				   setDate = setYear%4==0 ? setDate%29 : setDate%28;
			   }
			   else{
				   setDate %= 31;
			   }
		   }

		   break;
	   case 1:
		   if(screen == 2) {
			   setMonth++;
			   setMonth %= 12;

			   ILI9341_Draw_Rectangle(90,100, 125,30,  WHITE);
		   }

		   break;
	   case 2:
		   if(screen == 2) {setYear++;}
		   else if(screen == 3){
			   setAlarmHour++;
			   setAlarmHour %=24;
		   }

		   break;
	   case 3:
		   if(screen == 2){
			   setHour++;
			   setHour %= 24;
		   }

	   		else if(screen == 3){
	   			setAlarmMin++;
	   			setAlarmMin %=60;
	   		}

		   break;
	   case 4:
	   		if(screen == 2){
	   			   setMin++;
	   			   setMin %= 60;
	   		   }

	   		else if(screen == 3){
	   			setAlarmDay++;
	   			setAlarmDay %= 7;

	   			ILI9341_Draw_Rectangle( 70,175, 200,40,  WHITE);
	   		}

	   		break;

	   }
   }
   else if (HAL_GPIO_ReadPin(GPIOB, GPIO_PIN_13) == GPIO_PIN_RESET && count - debounceTime > 1000){
	   debounceTime = count;
	   switch(currentIndex){
	   case 0:
		   if(screen == 2){
			   if(setDate > 0)
				   setDate--;
		   }

		   break;
	   case 1:
		   if(screen == 2) {
			   if (setMonth > 0)
				   setMonth--;
//			   ILI9341_Draw_Rectangle(75,200, 125,40,  WHITE);

		   }

		   break;
	   case 2:
		   if(screen == 2) {
			   if(setYear > 0)
				   setYear--;
		   }
		   else if(screen == 3){
			   if(setAlarmHour > 0){
					   setAlarmHour--;

						   }
		   }

		   break;

	   case 3:
		   if(screen == 2){
			   if(setHour > 0){
	   			   setHour--;
	   		   }
		   }

		   else if(screen == 3){
			   if(setAlarmMin > 0){
					   setAlarmMin--;
					 //  ILI9341_Draw_Rectangle(90,175, 125,30,  WHITE);
				}
		   }
		   break;

	   case 4:
	   		   if(screen == 2){
	   			   if(setMin > 0){
	   	   			   setMin--;
	   	   		   }
	   		   }

	   		else if(screen == 3){

			   if(setAlarmDay > 0){
					   setAlarmDay--;
					   ILI9341_Draw_Rectangle( 70,175, 200,40,  WHITE);
			}

			   //ILI9341_Draw_Rectangle(60,200, 200,40,  WHITE);
//			   ILI9341_Draw_Rectangle(90,200, 125,40,  RED);
		   }

	   		   break;

	   }
   }
   else if (HAL_GPIO_ReadPin(GPIOB, GPIO_PIN_12) == GPIO_PIN_RESET  && count - debounceTime > 100){
	   debounceTime = count;
//	   if(selectionMode){

//	   }
//	   else{

		   // update setting Time

		   if (HAL_GPIO_ReadPin(GPIOB, GPIO_PIN_12) == GPIO_PIN_RESET  && count - debounceTimeSave > 3000){ // && count - debounceTimeSave > 3000

			   if(screen == 2){
			   DS3231_SetFullDate(setDate+1,setMonth+1, dayofweek(setDate + 1, setMonth + 1, setYear), setYear);
			   DS3231_SetMinute(setMin);
			   DS3231_SetHour(setHour);

			   }
			   else if (screen == 3){

				   DS3231_SetAlarm1Hour(setAlarmHour);
				   DS3231_SetAlarm1Minute(setAlarmMin);
				   DS3231_SetAlarm1Second(0);
				   DS3231_SetAlarm1Day(setAlarmDay+1);  // ใส่ day of week
			   }

			   debounceTimeSave = count;

			   HAL_UART_Transmit(&huart3, (uint8_t *)"SAVED!!", sizeof("SAVED!!"), HAL_MAX_DELAY);

			   HAL_Delay(50);
		   }
		   else{

			   if (screen==2){
			   currentIndex += 1;
			   currentIndex %= 5;
			   }
			   else if(screen==3){

				   currentIndex += 1;

				   if (currentIndex < 2 || currentIndex > 4){
					   currentIndex = 2;
				   }

//				   if (currentIndex > 6){
//					   currentIndex = 2;
//				   }
			   }
			   HAL_Delay(50);
		   }

//
//	   }
   }

   else if (HAL_GPIO_ReadPin(GPIOA, GPIO_PIN_15) == GPIO_PIN_RESET && count - debounceTime > 200 ){
	   debounceTime = count;

	   clicktime = count;
	   ILI9341_Fill_Screen(WHITE);

	   if(screen == 4){
		   ILI9341_Fill_Screen(bgcolor);
	   }

	   while (count - clicktime < 1000){
		   char message[50];
		   sprintf(message, "%d %d\r\n", clicktime, count);
		   HAL_UART_Transmit(&huart3, (uint8_t *)message, sizeof(message), HAL_MAX_DELAY);
	   }

	   if (HAL_GPIO_ReadPin(GPIOA, GPIO_PIN_15) == GPIO_PIN_RESET && count - debounceTime >3000) {
		   screen--;
		   debounceTime = count;
	   }
	   else {
		   enterStateFlag = 0;
		   screen++;
		   if (screen == 4){
			   ILI9341_Fill_Screen(BLACK);
		   }
		   if (screen > 4){
			   DF_Pause();
			   screen = 1;
		   }
	   }

//	   	   while(HAL_GPIO_ReadPin(GPIOA, GPIO_PIN_15) == GPIO_PIN_RESET)
//	   	   {
//	   		   if(count - clicktime > 3000){
//	   			   c = 1;
//	   			   screen--;
//	   			   lastclicktime = count;
//	   			   break;
//	   		   }
//	   	   }
//
	   	   //if (c == 0)
	   	   //{
	   		//   char message[20];
	   		//   sprintf(message, "XXXX");
	   		//   HAL_UART_Transmit(&huart3, (uint8_t *)message, sizeof(message), HAL_MAX_DELAY);
	   	  // }
	   	   //c = 0;

//		if(screen == 2) {
//		   setDate = param1;
//		   setMonth = param2;
//		   setYear = param3;
//	   }
//	   else if (screen == 3){
//		   setHour = param1;
//		   setMin = param2;
//		   setSec = param3;
//	   }
   }
}

// ฟัง�?์ชันตัวผสมสี
uint16_t RGB565(uint16_t R, uint16_t G, uint16_t B) {
    float Rr = (R * 255) / (float)100;
    float Gg = (G * 255) / (float)100;
    float Bb = (B * 255) / (float)100;

    // ปรับค่าสี R, G, B ให้อยู่ในช่วง 0-255
    uint8_t R8 = (uint8_t)(Rr + 0.5);  // �?ปลงค่าทศนิยมเป็นจำนวนเต็ม
    uint8_t G8 = (uint8_t)(Gg + 0.5);
    uint8_t B8 = (uint8_t)(Bb + 0.5);

    // ทำ�?ารลดขนาดค่าสี R, G, B เข้าให้เป็นช่วง 0-31
    uint8_t R5 = (R8 * 31) / 255;
    uint8_t G6 = (G8 * 63) / 255;
    uint8_t B5 = (B8 * 31) / 255;

    // คำนวณค่า RGB565
    uint16_t RGB565 = ((R5 << 11) | (G6 << 5) | B5);

    return RGB565;
}

uint16_t mapColorByHourAndMinute(uint16_t hour, uint16_t minute) {
    // คำนวณสีที่จะไล่ตามชั่วโมง�?ละนาที
    int R, G, B;

    if (hour >= 0 && hour < 6) {
        // 0.00-6.00: น้ำเงินเข้ม
        R = 0;
        G = 0;
        B = 50;
    } else if (hour >= 6 && hour < 12) {
        // 6.00-12.00: สีเหลืองเริ่มที่ความสวยของสีเขียวเพิ่มขึ้น
        int intensity = ((hour - 6) * 100) / 6;
        R = 100;
        G = 100;
        B = intensity;
    } else if (hour >= 12 && hour < 18) {
        // 12.00-18.00: สีส้มเริ่มลดสีเขียว
        int intensity = ((hour - 12) * 100) / 6;
        R = 100;
        G = 100 - intensity;
        B = 0;
    } else if (hour >= 18 && hour < 24) {
        // 18.00-24.00: สีเขียวเริ่มเพิ่มสีเขียว
        int intensity = ((hour - 18) * 100) / 6;
        R = intensity;
        G = 100;
        B = 0;
    } else {
        // ไม่ถู�?ต้อง
        R = 0;
        G = 0;
        B = 0;
    }

    // �?�?้ไขสีตามนาที
    // เพิ่มความสวยของสีด้วย�?ารเปลี่ยน G (เขียว) ตามนาที
    G = (G * minute) / 60;

    return RGB565(R, G, B);
}

// ฟัง�?์ชันเพื่อคำนวณสีตรงข้าม (complementary color)
uint16_t complementaryColor(uint16_t color) {
    // สลับค่า R (�?ดง), G (เขียว), �?ละ B (น้ำเงิน)
    uint8_t R5 = (color >> 11) & 0x1F;
    uint8_t G6 = (color >> 5) & 0x3F;
    uint8_t B5 = color & 0x1F;

    // คำนวณสีที่ตัด�?ัน
    uint8_t Rcomplementary = 31 - R5;  // ตัด�?ัน�?ละสลับค่า�?ดง
    uint8_t Gcomplementary = 63 - G6;  // ตัด�?ัน�?ละสลับค่าเขียว
    uint8_t Bcomplementary = 31 - B5;  // ตัด�?ัน�?ละสลับค่าน้ำเงิน

    // คำนวณสี RGB565 จา�?สีที่ตัด�?ัน
    return ((Rcomplementary << 11) | (Gcomplementary << 5) | Bcomplementary);
}

void ILI9341_Draw_Star(uint16_t X, uint16_t Y, uint16_t Size, uint16_t Color) {
    // วาดเส้นแรก
    int i;
    for (i = 0; i < 5; i++) {
        int x1 = X + (int)(Size * cos(2 * M_PI * i / 5));
        int y1 = Y + (int)(Size * sin(2 * M_PI * i / 5));
        int x2 = X + (int)(Size * cos(2 * M_PI * (i + 2) / 5));
        int y2 = Y + (int)(Size * sin(2 * M_PI * (i + 2) / 5));
        ILI9341_Draw_Line(x1, y1, x2, y2, Color);

    }

    // วาดเส้นที่ตัดกัน
    for (i = 0; i < 5; i++) {
        int x1 = X + (int)(Size * cos(2 * M_PI * i / 5));
        int y1 = Y + (int)(Size * sin(2 * M_PI * i / 5));
        int x2 = X + (int)(Size * cos(2 * M_PI * (i + 1) / 5));
        int y2 = Y + (int)(Size * sin(2 * M_PI * (i + 1) / 5));
        ILI9341_Draw_Line(x1, y1, x2, y2, Color);
    }
}

void ILI9341_Draw_Line(uint16_t x1, uint16_t y1, uint16_t x2, uint16_t y2, uint16_t Color) {
    int dx = abs(x2 - x1);
    int sx = x1 < x2 ? 1 : -1;
    int dy = -abs(y2 - y1);
    int sy = y1 < y2 ? 1 : -1;
    int err = dx + dy;

    while (1) {
        ILI9341_Draw_Pixel(x1, y1, Color);
        if (x1 == x2 && y1 == y2) {
            break;
        }
        int e2 = 2 * err;
        if (e2 >= dy) {
            err += dy;
            x1 += sx;
        }
        if (e2 <= dx) {
            err += dx;
            y1 += sy;
        }
    }
}

int dayofweek(int d, int m, int y)
{
	int t[] = { 0, 3, 2, 5, 0, 3, 5, 1, 4, 6, 2, 4 };

	// if month is less than 3 reduce year by 1
	if (m < 3)
		y -= 1;

	return ((y + y / 4 - y / 100 + y / 400 + t[m - 1] + d) % 7);
}
/* USER CODE END 4 */

void Error_Handler(void)
{
  while(1)
  {
  }
}
